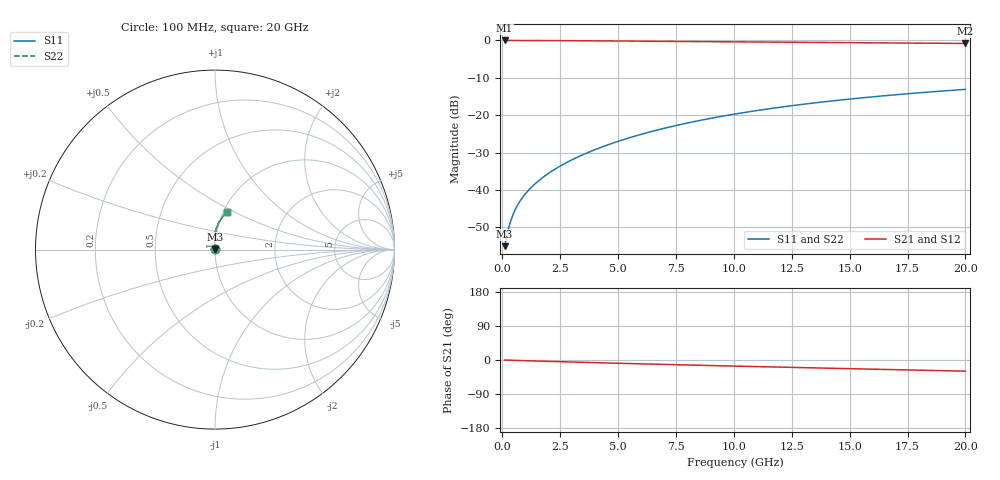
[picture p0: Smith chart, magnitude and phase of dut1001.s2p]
! Touchstone file exported from HFSS 2024.1.0
!  File:  C:/UserFiles/LocalFiles/RDL_TSV_Batchsim/temp_RDL_bottom_1001_1780049949.aedt
!  Generated:  06:21:44 PM May 29, 2026
!  Design:  RDL_bottom
!  Project:  temp_RDL_bottom_1001_1780049949
!  Setup:  Setup1
!  Solution:  Sweep
! Variables:
!  dtsv = 10.80580581um
!  hbump = 3um
!  htsv = 70.02um
!  ldown = 464.07um
!  lrdl = 100um
!  p = 40
!  p1 = 44.94um
!  rhole = 1um
!  t = 450um
!  tdown = 4.89um
!  trdl = 3.915915916um
!  wdown = 26.68um
!  wrdl = 20um
# GHz S MA R 50.000000
! Terminal data exported
! Port[1] = RDL1_T1
! Port[2] = RDL1_T2
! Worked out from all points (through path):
!   200 points, 100 MHz to 20 GHz, reference 50 ohm
!   highest |S21| = -0.01 dB at 100 MHz (marker M1); lowest = -0.8 dB at 20 GHz (marker M2)
!   group delay of S21, straight-line fit = 4.02 ps
!   lowest |S11| = -55.0 dB at 100 MHz (marker M3), VSWR 1.00, Z = 50.1 + j0.0994 ohm
!   |S11| at or under -10 dB: start of sweep to end of sweep
!   |S22| runs from -55.0 to -13.1 dB; largest |S21 - S12| = 6.2e-15
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0.1  0.001773 34.0  0.9985 -0.2  0.9985 -0.2  0.001773 34.0
! Gamma 0 0 0 0
! Port Impedance 50 0 50 0
0.2  0.002487 52.1  0.9984 -0.4  0.9984 -0.4  0.002487 52.1
0.3  0.003317 60.9  0.9982 -0.6  0.9982 -0.6  0.003317 60.9
0.4  0.004163 65.9  0.998 -0.7  0.998 -0.7  0.004163 65.9
0.5  0.004994 69.0  0.9979 -0.9  0.9979 -0.9  0.004994 69.0
0.7  0.006597 73.1  0.9976 -1.3  0.9976 -1.3  0.006598 73.2
1  0.008909 77.3  0.9972 -1.8  0.9972 -1.8  0.00891 77.3
1.4  0.01197 81.2  0.9964 -2.5  0.9964 -2.5  0.01197 81.2
1.7  0.01432 83.4  0.9957 -3.1  0.9957 -3.1  0.01432 83.4
2  0.01672 85.2  0.9949 -3.6  0.9949 -3.6  0.01672 85.2
2.7  0.0226 88.3  0.9926 -4.8  0.9926 -4.8  0.0226 88.3
3.5  0.0298 90.5  0.9894 -6.2  0.9894 -6.2  0.0298 90.5
4.2  0.03654 91.6  0.9862 -7.3  0.9862 -7.3  0.03654 91.6
5  0.0447 92.3  0.9823 -8.6  0.9823 -8.6  0.04471 92.3
5.9  0.05442 92.4  0.9777 -10.0  0.9777 -10.0  0.05442 92.4
6.8  0.0646 92.0  0.9729 -11.4  0.9729 -11.4  0.06461 92.0
8.4  0.08353 90.5  0.9646 -13.8  0.9646 -13.8  0.08354 90.5
10.1  0.1043 88.2  0.956 -16.2  0.956 -16.2  0.1043 88.2
11.7  0.1241 85.7  0.9483 -18.4  0.9483 -18.4  0.1241 85.7
13.4  0.1449 82.9  0.9404 -20.8  0.9404 -20.8  0.1449 82.9
16.7  0.1843 77.4  0.9256 -25.2  0.9256 -25.2  0.1843 77.4
20  0.2215 72.1  0.9114 -29.4  0.9114 -29.4  0.2215 72.0
